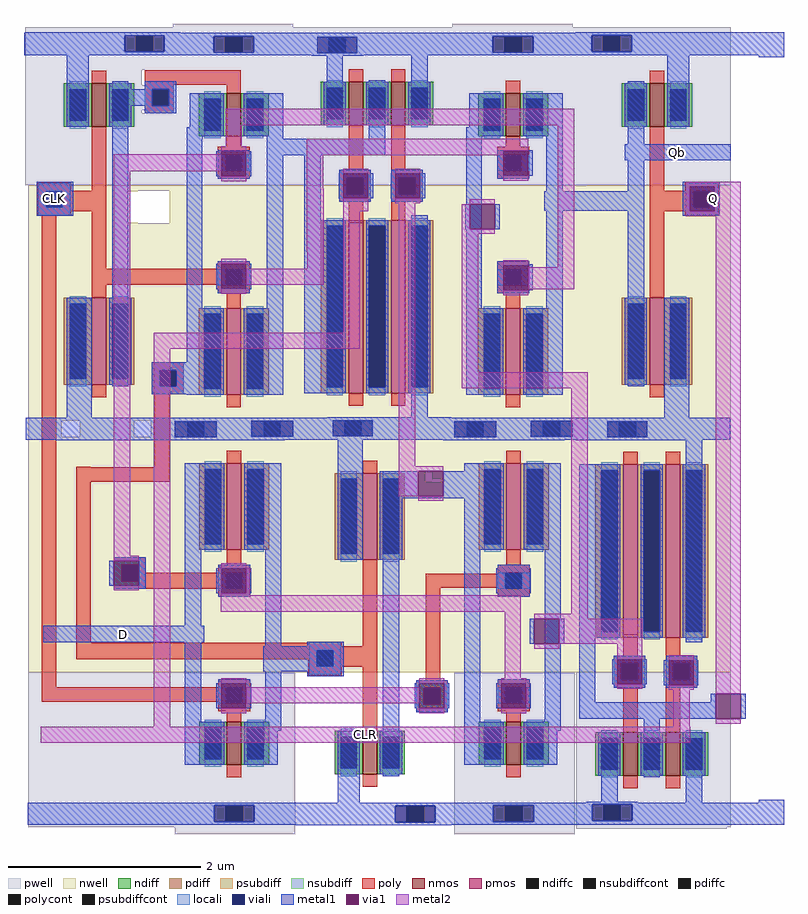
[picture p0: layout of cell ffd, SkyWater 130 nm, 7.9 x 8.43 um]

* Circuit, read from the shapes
.subckt ffd CLK CLR D Q Qb vdd! vss!
XM1 tg_0/en CLK vss! vss! sky130_fd_pr__nfet_01v8 w=0.45 l=0.15
XM2 n1 tg_0/en n2 vss! sky130_fd_pr__nfet_01v8 w=0.45 l=0.15
XM3 n2 CLK D vss! sky130_fd_pr__nfet_01v8 w=0.45 l=0.15
XM4 n1 CLR vss! vss! sky130_fd_pr__nfet_01v8 w=0.45 l=0.15
XM5 n3 n2 vss! vss! sky130_fd_pr__nfet_01v8 w=0.45 l=0.15
XM6 vss! n3 n1 vss! sky130_fd_pr__nfet_01v8 w=0.45 l=0.15
XM7 Qb CLK n4 vss! sky130_fd_pr__nfet_01v8 w=0.45 l=0.15
XM8 n4 tg_0/en n3 vss! sky130_fd_pr__nfet_01v8 w=0.45 l=0.15
XM9 Q n4 vss! vss! sky130_fd_pr__nfet_01v8 w=0.45 l=0.15
XM10 vss! Q Qb vss! sky130_fd_pr__nfet_01v8 w=0.45 l=0.15
XM11 vss! CLR Q vss! sky130_fd_pr__nfet_01v8 w=0.45 l=0.15
XM12 tg_0/en CLK vdd! vdd! sky130_fd_pr__pfet_01v8 w=0.9 l=0.15
XM13 n1 CLK n2 vdd! sky130_fd_pr__pfet_01v8 w=0.9 l=0.15
XM14 n2 tg_0/en D vdd! sky130_fd_pr__pfet_01v8 w=0.9 l=0.15
XM15 n5 CLR n1 vdd! sky130_fd_pr__pfet_01v8 w=1.8 l=0.15
XM16 n3 n2 vdd! vdd! sky130_fd_pr__pfet_01v8 w=0.9 l=0.15
XM17 vdd! n3 n5 vdd! sky130_fd_pr__pfet_01v8 w=1.8 l=0.15
XM18 Qb tg_0/en n4 vdd! sky130_fd_pr__pfet_01v8 w=0.9 l=0.15
XM19 n4 CLK n3 vdd! sky130_fd_pr__pfet_01v8 w=0.9 l=0.15
XM20 n6 n4 Q vdd! sky130_fd_pr__pfet_01v8 w=1.8 l=0.15
XM21 vdd! Q Qb vdd! sky130_fd_pr__pfet_01v8 w=0.9 l=0.15
XM22 vdd! CLR n6 vdd! sky130_fd_pr__pfet_01v8 w=1.8 l=0.15
.ends

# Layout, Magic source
magic
tech sky130A
magscale 1 2
<< nwell >>
rect 1409 2451 2287 2452
rect 2290 2451 2547 2452
rect 2569 2451 2869 2452
rect 1409 2450 2869 2451
rect 1409 2444 2482 2450
rect 1409 2441 2485 2444
rect 1409 2440 1636 2441
rect 1703 2440 2485 2441
rect 2489 2440 2869 2450
rect 1409 2374 1617 2440
rect 1409 2373 1636 2374
rect 1703 2373 2869 2440
rect 1409 2152 2869 2373
rect 1409 2056 1467 2152
rect 1468 2056 2869 2152
rect 1409 1963 2869 2056
rect 1409 1929 1478 1963
rect 1516 1929 1629 1963
rect 1663 1929 2712 1963
rect 2773 1929 2869 1963
rect 1409 1858 2869 1929
rect 1409 1836 2234 1858
rect 2274 1836 2869 1858
rect 1409 1440 2869 1836
<< pwell >>
rect 1403 2692 2869 2781
rect 1403 2660 1645 2692
rect 1651 2660 2869 2692
rect 1403 2608 2869 2660
rect 1403 2602 1645 2608
rect 1651 2602 2869 2608
rect 1403 2527 2869 2602
rect 1403 2525 2427 2527
rect 2458 2525 2869 2527
rect 1403 2452 2869 2525
rect 1409 1118 1733 1440
rect 1874 1242 1946 1321
rect 2479 1240 2532 1321
rect 2548 1118 2869 1440
<< poly >>
rect 1651 2661 1851 2691
rect 1651 2652 1711 2661
rect 1651 2618 1667 2652
rect 1701 2618 1711 2652
rect 1651 2602 1711 2618
rect 1437 1409 1467 2459
rect 1468 2406 1483 2436
rect 1541 2245 1853 2279
rect 1666 2068 1732 2084
rect 1666 2034 1682 2068
rect 1716 2034 1732 2068
rect 1666 2018 1732 2034
rect 1509 1866 1539 1867
rect 1672 1866 1702 2018
rect 1509 1836 1702 1866
rect 1509 1501 1539 1836
rect 1587 1663 1653 1679
rect 1587 1629 1603 1663
rect 1637 1647 1653 1663
rect 1637 1629 1853 1647
rect 1587 1613 1853 1629
rect 2235 1615 2437 1645
rect 1509 1467 2046 1501
rect 2235 1423 2265 1615
rect 1437 1378 1853 1409
rect 2215 1407 2281 1423
rect 2215 1373 2231 1407
rect 2265 1373 2281 1407
rect 2215 1357 2281 1373
<< polycont >>
rect 1667 2618 1701 2652
rect 1682 2034 1716 2068
rect 1603 1629 1637 1663
rect 2231 1373 2265 1407
<< locali >>
rect 1651 2652 1711 2668
rect 1651 2618 1667 2652
rect 1701 2618 1711 2652
rect 1651 2602 1711 2618
rect 1666 2068 1732 2084
rect 1666 2034 1682 2068
rect 1716 2034 1732 2068
rect 1666 2018 1732 2034
rect 1587 1663 1653 1679
rect 1587 1629 1603 1663
rect 1637 1629 1653 1663
rect 1587 1613 1653 1629
rect 2215 1407 2281 1423
rect 2215 1373 2231 1407
rect 2265 1373 2281 1407
rect 2215 1357 2281 1373
<< viali >>
rect 1667 2618 1701 2652
rect 1682 2034 1716 2068
rect 1603 1629 1637 1663
rect 2231 1373 2265 1407
<< metal1 >>
rect 1503 2763 2555 2769
rect 1503 2729 1515 2763
rect 1954 2729 2325 2763
rect 2521 2729 2555 2763
rect 1503 2723 2555 2729
rect 2848 2723 2980 2770
rect 2525 2722 2555 2723
rect 2928 2718 2980 2723
rect 1651 2652 1717 2668
rect 1583 2618 1667 2652
rect 1701 2618 1717 2652
rect 1651 2602 1717 2618
rect 1800 2471 1810 2523
rect 1862 2471 1872 2523
rect 1927 2515 2027 2549
rect 2386 2524 2389 2525
rect 2427 2524 2458 2525
rect 1426 2389 1502 2460
rect 1609 2402 1617 2440
rect 2054 2425 2064 2477
rect 2116 2425 2126 2477
rect 2162 2425 2172 2477
rect 2224 2425 2234 2477
rect 2386 2472 2396 2524
rect 2448 2472 2458 2524
rect 2649 2504 2869 2538
rect 1596 2374 1617 2402
rect 2317 2361 2327 2413
rect 2379 2361 2389 2413
rect 2482 2399 2678 2440
rect 2774 2398 2784 2450
rect 2836 2398 2846 2450
rect 1800 2236 1810 2289
rect 1862 2236 1872 2289
rect 2386 2286 2389 2288
rect 2427 2286 2458 2288
rect 2386 2234 2396 2286
rect 2448 2234 2458 2286
rect 1666 2068 1762 2084
rect 1666 2034 1682 2068
rect 1716 2034 1762 2068
rect 1666 2018 1762 2034
rect 1466 1963 1675 1969
rect 1466 1929 1478 1963
rect 1516 1929 1662 1963
rect 1663 1929 1675 1963
rect 1466 1925 1675 1929
rect 1704 1963 2832 1969
rect 1704 1929 1749 1963
rect 1924 1929 2677 1963
rect 2707 1929 2719 1963
rect 2773 1929 2785 1963
rect 2820 1929 2832 1963
rect 1704 1925 2832 1929
rect 1466 1923 2832 1925
rect 1663 1922 1709 1923
rect 2140 1806 2220 1858
rect 2272 1806 2346 1858
rect 2140 1802 2346 1806
rect 1587 1672 1653 1679
rect 1577 1620 1587 1672
rect 1639 1620 1653 1672
rect 1587 1613 1653 1620
rect 1800 1604 1810 1656
rect 1862 1604 1872 1656
rect 2382 1604 2392 1656
rect 2444 1604 2454 1656
rect 1440 1502 1775 1536
rect 2451 1499 2461 1551
rect 2513 1499 2523 1551
rect 1897 1442 2053 1494
rect 2215 1417 2281 1423
rect 1800 1365 1810 1417
rect 1862 1365 1872 1417
rect 2212 1365 2222 1417
rect 2274 1365 2284 1417
rect 2382 1365 2392 1417
rect 2444 1365 2454 1417
rect 2623 1415 2633 1467
rect 2685 1415 2695 1467
rect 2730 1413 2740 1465
rect 2792 1413 2802 1465
rect 2828 1377 2838 1395
rect 2215 1357 2281 1365
rect 2663 1343 2838 1377
rect 2890 1343 2900 1395
rect 2928 1169 2980 1175
rect 1408 1123 1718 1169
rect 2284 1123 2305 1169
rect 2535 1123 2556 1169
rect 2860 1123 2980 1169
<< via1 >>
rect 1810 2471 1862 2523
rect 2064 2425 2116 2477
rect 2172 2425 2224 2477
rect 2396 2472 2448 2524
rect 2327 2361 2379 2413
rect 2784 2398 2836 2450
rect 1810 2237 1862 2289
rect 2396 2234 2448 2286
rect 2220 1806 2272 1858
rect 1587 1663 1639 1672
rect 1587 1629 1603 1663
rect 1603 1629 1637 1663
rect 1637 1629 1639 1663
rect 1587 1620 1639 1629
rect 1810 1604 1862 1656
rect 2461 1499 2513 1551
rect 1810 1365 1862 1417
rect 2222 1407 2274 1417
rect 2222 1373 2231 1407
rect 2231 1373 2265 1407
rect 2265 1373 2274 1407
rect 2222 1365 2274 1373
rect 2392 1365 2444 1417
rect 2633 1415 2685 1467
rect 2740 1413 2792 1465
rect 2838 1343 2890 1395
<< metal2 >>
rect 1819 2577 2544 2611
rect 1819 2533 1853 2577
rect 1810 2523 1862 2533
rect 1587 2481 1810 2517
rect 1587 1682 1621 2481
rect 1810 2461 1862 2471
rect 1988 2524 2448 2549
rect 1988 2515 2396 2524
rect 1988 2445 2022 2515
rect 2064 2477 2116 2487
rect 1988 2314 2023 2445
rect 1810 2289 1862 2299
rect 1989 2279 2023 2314
rect 1862 2245 2023 2279
rect 2064 2398 2116 2425
rect 2172 2477 2224 2487
rect 2396 2462 2448 2472
rect 2172 2415 2224 2425
rect 1810 2227 1862 2237
rect 2064 2146 2098 2398
rect 1670 2112 2098 2146
rect 1587 1672 1639 1682
rect 1587 1610 1639 1620
rect 1670 1327 1704 2112
rect 2179 1868 2213 2415
rect 2327 2413 2379 2423
rect 2310 2361 2327 2413
rect 2310 2351 2379 2361
rect 2310 2064 2344 2351
rect 2396 2286 2448 2296
rect 2510 2282 2544 2577
rect 2776 2450 2890 2460
rect 2776 2398 2784 2450
rect 2836 2398 2890 2450
rect 2776 2388 2890 2398
rect 2448 2236 2544 2282
rect 2396 2224 2448 2234
rect 2310 2030 2572 2064
rect 2179 1858 2272 1868
rect 2179 1806 2220 1858
rect 2220 1796 2272 1806
rect 1810 1657 1862 1666
rect 1809 1656 1869 1657
rect 1809 1604 1810 1656
rect 1862 1604 1869 1656
rect 1809 1600 1869 1604
rect 1809 1566 2433 1600
rect 2399 1427 2433 1566
rect 2538 1561 2572 2030
rect 2461 1551 2572 1561
rect 2513 1499 2685 1551
rect 2461 1489 2513 1499
rect 2633 1467 2685 1499
rect 1810 1417 1862 1427
rect 2222 1417 2274 1427
rect 1862 1375 2222 1409
rect 1810 1355 1862 1365
rect 2222 1355 2274 1365
rect 2392 1417 2444 1427
rect 2444 1374 2448 1408
rect 2633 1405 2685 1415
rect 2740 1465 2792 1475
rect 2740 1403 2792 1413
rect 2392 1355 2444 1365
rect 2750 1327 2784 1403
rect 2838 1395 2890 2388
rect 2838 1333 2890 1343
rect 1435 1293 2785 1327
use tg  tg_3
transform 1 0 1747 0 1 1429
box -35 -326 258 621
use tg  tg_1
transform -1 0 2507 0 -1 2462
box -35 -326 258 621
use tg  tg_2
transform 1 0 2328 0 1 1429
box -35 -326 258 621
use tg  tg_0
transform -1 0 1926 0 -1 2462
box -35 -326 258 621
use nor  nor_1
transform -1 0 2844 0 1 1134
box -17 -20 296 869
use nor  nor_0
transform -1 0 2273 0 -1 2758
box -17 -20 296 869
use inverter  inverter_1
transform -1 0 2503 0 -1 2611
box -369 -159 -44 689
use inverter  inverter_2
transform 1 0 2332 0 1 1281
box -369 -159 -44 689
use inverter  inverter_0
transform 1 0 1769 0 -1 2611
box -369 -159 -44 689
<< labels >>
rlabel metal2 1435 1293 2785 1327 1 CLR
rlabel metal1 1426 2389 1502 2460 1 CLK
rlabel metal1 2649 2504 2869 2538 1 Qb
rlabel metal1 1440 1502 1775 1536 1 D
rlabel metal2 2776 2388 2890 2460 1 Q
<< end >>

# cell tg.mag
magic
tech sky130A
magscale 1 2
<< nwell >>
rect -35 451 258 621
rect -34 12 217 451
<< pwell >>
rect -34 -326 217 10
<< psubdiff >>
rect 48 -300 72 -266
rect 108 -300 132 -266
<< nsubdiff >>
rect 125 500 152 534
rect 186 500 213 534
<< psubdiffcont >>
rect 72 -300 108 -266
<< nsubdiffcont >>
rect 152 500 186 534
<< viali >>
rect 125 500 152 534
rect 152 500 186 534
rect 186 500 213 534
rect 48 -300 72 -266
rect 72 -300 108 -266
rect 108 -300 132 -266
<< metal1 >>
rect -16 534 235 540
rect -16 500 125 534
rect 213 500 235 534
rect -16 494 235 500
rect -13 265 63 445
rect 117 265 188 445
rect -13 -92 21 265
rect 57 168 123 234
rect 57 -63 123 -4
rect 155 -87 188 265
rect 154 -92 188 -87
rect -13 -93 29 -92
rect 63 -93 69 -92
rect -13 -182 69 -93
rect 117 -111 188 -92
rect 117 -182 181 -111
rect -34 -266 217 -260
rect -34 -300 48 -266
rect 132 -300 217 -266
rect -34 -306 217 -300
use sky130_fd_pr__pfet_01v8_BHXHFC  sky130_fd_pr__pfet_01v8_BHXHFC_0
transform 1 0 90 0 1 319
box -109 -154 109 188
use sky130_fd_pr__nfet_01v8_NNQAGW  sky130_fd_pr__nfet_01v8_NNQAGW_0
transform 1 0 90 0 1 -106
box -73 -102 73 102
<< labels >>
rlabel metal1 73 184 107 218 1 enn
rlabel metal1 73 -54 107 -20 1 en
rlabel nwell 152 500 186 534 1 vdd!
rlabel pwell 48 -300 132 -266 1 vss!
<< end >>

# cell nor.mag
magic
tech sky130A
magscale 1 2
<< nwell >>
rect -17 306 296 869
<< pwell >>
rect -17 -20 296 306
<< psubdiff >>
rect 180 -3 204 31
rect 239 -3 263 31
<< nsubdiff >>
rect 148 794 172 828
rect 206 794 231 828
<< psubdiffcont >>
rect 204 -3 239 31
<< nsubdiffcont >>
rect 172 794 206 828
<< poly >>
rect 80 340 110 375
rect 168 340 198 385
rect 44 324 110 340
rect 44 290 60 324
rect 94 290 110 324
rect 44 274 110 290
rect 152 324 218 340
rect 152 290 168 324
rect 202 290 218 324
rect 152 274 218 290
rect 80 202 110 274
rect 168 202 198 274
<< polycont >>
rect 60 290 94 324
rect 168 290 202 324
<< locali >>
rect 44 324 109 340
rect 44 290 60 324
rect 94 290 109 324
rect 44 274 109 290
rect 152 324 218 340
rect 152 290 168 324
rect 202 290 218 324
rect 152 274 218 290
<< viali >>
rect 148 794 172 828
rect 172 794 206 828
rect 206 794 231 828
rect 60 290 94 324
rect 168 290 202 324
rect 180 -3 204 31
rect 204 -3 239 31
rect 239 -3 263 31
<< metal1 >>
rect -14 828 292 835
rect -14 794 148 828
rect 231 794 292 828
rect -14 789 292 794
rect 34 368 68 789
rect 136 788 243 789
rect 204 378 290 738
rect 44 324 109 340
rect 44 290 60 324
rect 94 290 109 324
rect 44 274 109 290
rect 152 324 218 340
rect 152 290 168 324
rect 202 290 218 324
rect 152 274 218 290
rect 256 243 290 378
rect 122 209 290 243
rect 34 35 68 181
rect 122 87 156 209
rect 210 37 244 181
rect 168 35 275 37
rect -17 31 296 35
rect -17 -3 180 31
rect 263 -3 296 31
rect -17 -11 296 -3
use sky130_fd_pr__nfet_01v8_NNQ2PV  sky130_fd_pr__nfet_01v8_NNQ2PV_1
transform 1 0 183 0 1 136
box -73 -71 73 71
use sky130_fd_pr__nfet_01v8_NNQ2PV  sky130_fd_pr__nfet_01v8_NNQ2PV_0
transform 1 0 95 0 1 136
box -73 -71 73 71
use sky130_fd_pr__pfet_01v8_5CNMEE  sky130_fd_pr__pfet_01v8_5CNMEE_1
transform 1 0 183 0 1 558
box -109 -242 109 242
use sky130_fd_pr__pfet_01v8_5CNMEE  sky130_fd_pr__pfet_01v8_5CNMEE_0
transform 1 0 95 0 1 558
box -109 -242 109 242
<< labels >>
rlabel nwell 172 794 206 828 1 vdd!
rlabel pwell 180 -3 263 31 1 vss!
<< end >>

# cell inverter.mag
magic
tech sky130A
magscale 1 2
<< psubdiff >>
rect -160 -153 -136 -119
rect -101 -153 -77 -119
<< psubdiffcont >>
rect -136 -153 -101 -119
<< poly >>
rect -341 213 -271 222
rect -228 213 -198 369
rect -341 205 -198 213
rect -341 171 -323 205
rect -289 171 -198 205
rect -341 170 -198 171
rect -341 152 -271 170
rect -228 51 -198 170
<< polycont >>
rect -323 171 -289 205
<< locali >>
rect -339 205 -273 221
rect -339 171 -323 205
rect -289 171 -273 205
rect -339 155 -273 171
<< viali >>
rect -323 171 -289 205
rect -160 -153 -136 -119
rect -136 -153 -101 -119
rect -101 -153 -77 -119
<< metal1 >>
rect -302 688 -44 689
rect -365 642 -44 688
rect -280 393 -228 642
rect -343 205 -267 222
rect -343 171 -323 205
rect -289 171 -267 205
rect -343 151 -267 171
rect -280 -112 -234 37
rect -186 -57 -152 577
rect -369 -119 -44 -112
rect -369 -153 -160 -119
rect -77 -153 -44 -119
rect -369 -158 -44 -153
rect -366 -159 -44 -158
use sky130_fd_pr__pfet_01v8_5AYHFE  sky130_fd_pr__pfet_01v8_5AYHFE_0
transform 1 0 -213 0 1 483
box -109 -152 109 152
use sky130_fd_pr__nfet_01v8_NNQ2PV  sky130_fd_pr__nfet_01v8_NNQ2PV_0
transform 1 0 -213 0 1 -8
box -73 -71 73 71
<< labels >>
rlabel metal1 -160 -153 -77 -119 1 vss!
<< end >>

# cell sky130_fd_pr__pfet_01v8_5AYHFE: kit device sky130_fd_pr__pfet_01v8, w 0.9 l 0.15 m 1 nf 1 diffcov 100 polycov 100 guard 0 glc 0 grc 0 gtc 0 gbc 0 tbcov 100 rlcov 100 topc 0 botc 0 poverlap 0 doverlap 1 lmin 0.15 wmin 0.42 compatible {sky130_fd_pr__pfet_01v8 sky130_fd_pr__pfet_01v8_lvt sky130_fd_pr__pfet_01v8_hvt sky130_fd_pr__pfet_g5v0d10v5} full_metal 0 viasrc 100 viadrn 100 viagate 100 viagb 0 viagr 0 viagl 0 viagt 0

# cell sky130_fd_pr__nfet_01v8_NNQ2PV: kit device sky130_fd_pr__nfet_01v8, w 0.450 l 0.150 m 1 nf 1 diffcov 100 polycov 100 guard 0 glc 0 grc 0 gtc 0 gbc 0 tbcov 100 rlcov 100 topc 0 botc 0 poverlap 0 doverlap 1 lmin 0.15 wmin 0.42 compatible {sky130_fd_pr__nfet_01v8 sky130_fd_pr__nfet_01v8_lvt sky130_fd_bs_flash__special_sonosfet_star sky130_fd_pr__nfet_g5v0d10v5 sky130_fd_pr__nfet_05v0_nvt} full_metal 0 viasrc 100 viadrn 100 viagate 100 viagb 0 viagr 0 viagl 0 viagt 0

# cell sky130_fd_pr__pfet_01v8_5CNMEE: kit device sky130_fd_pr__pfet_01v8, w 1.8 l 0.15 m 1 nf 1 diffcov 100 polycov 100 guard 0 glc 0 grc 0 gtc 0 gbc 0 tbcov 100 rlcov 100 topc 0 botc 0 poverlap 0 doverlap 1 lmin 0.15 wmin 0.42 compatible {sky130_fd_pr__pfet_01v8 sky130_fd_pr__pfet_01v8_lvt sky130_fd_pr__pfet_01v8_hvt sky130_fd_pr__pfet_g5v0d10v5} full_metal 0 viasrc 100 viadrn 100 viagate 100 viagb 0 viagr 0 viagl 0 viagt 0

# cell sky130_fd_pr__pfet_01v8_BHXHFC: kit device sky130_fd_pr__pfet_01v8, w 0.9 l 0.15 m 1 nf 1 diffcov 100 polycov 100 guard 0 glc 0 grc 0 gtc 0 gbc 0 tbcov 100 rlcov 100 topc 0 botc 1 poverlap 0 doverlap 1 lmin 0.15 wmin 0.42 compatible {sky130_fd_pr__pfet_01v8 sky130_fd_pr__pfet_01v8_lvt sky130_fd_pr__pfet_01v8_hvt sky130_fd_pr__pfet_g5v0d10v5} full_metal 0 viasrc 100 viadrn 100 viagate 100 viagb 0 viagr 0 viagl 0 viagt 0

# cell sky130_fd_pr__nfet_01v8_NNQAGW: kit device sky130_fd_pr__nfet_01v8, w 0.450 l 0.150 m 1 nf 1 diffcov 100 polycov 100 guard 0 glc 0 grc 0 gtc 0 gbc 0 tbcov 100 rlcov 100 topc 1 botc 0 poverlap 0 doverlap 1 lmin 0.15 wmin 0.42 compatible {sky130_fd_pr__nfet_01v8 sky130_fd_pr__nfet_01v8_lvt sky130_fd_bs_flash__special_sonosfet_star sky130_fd_pr__nfet_g5v0d10v5 sky130_fd_pr__nfet_05v0_nvt} full_metal 0 viasrc 100 viadrn 100 viagate 100 viagb 0 viagr 0 viagl 0 viagt 0
